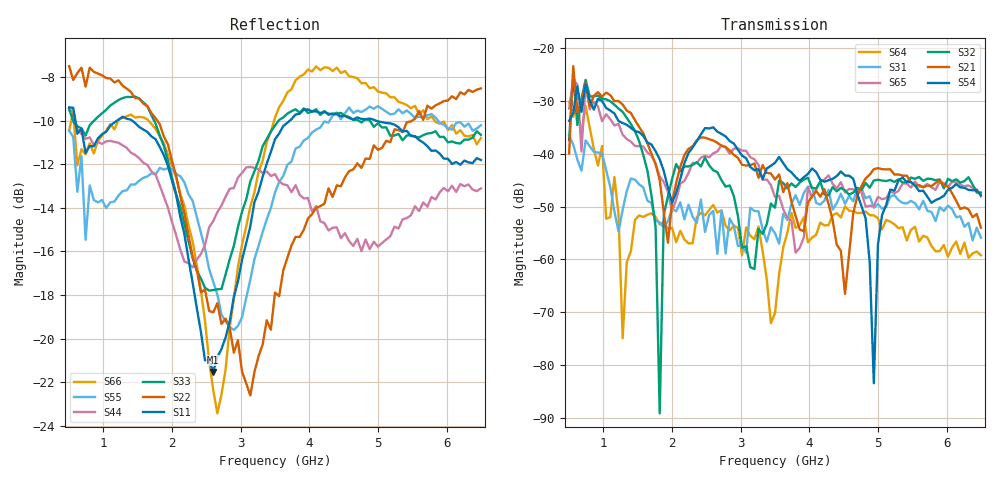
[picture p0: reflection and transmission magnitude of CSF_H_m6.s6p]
!Keysight Technologies,M9804A,MY58100912,A.14.10.03
!Date: Thursday, April 27, 2023 10:28:33
!Correction: S11(C  6-Port  )
!S12(C  6-Port  )
!S13(C  6-Port  )
!S14(C  6-Port  )
!S15(C  6-Port  )
!S16(C  6-Port  )
!S21(C  6-Port  )
!S22(C  6-Port  )
!S23(C  6-Port  )
!S24(C  6-Port  )
!S25(C  6-Port  )
!S26(C  6-Port  )
!S31(C  6-Port  )
!S32(C  6-Port  )
!S33(C  6-Port  )
!S34(C  6-Port  )
!S35(C  6-Port  )
!S36(C  6-Port  )
!S41(C  6-Port  )
!S42(C  6-Port  )
!S43(C  6-Port  )
!S44(C  6-Port  )
!S45(C  6-Port  )
!S46(C  6-Port  )
!S51(C  6-Port  )
!S52(C  6-Port  )
!S53(C  6-Port  )
!S54(C  6-Port  )
!S55(C  6-Port  )
!S56(C  6-Port  )
!S61(C  6-Port  )
!S62(C  6-Port  )
!S63(C  6-Port  )
!S64(C  6-Port  )
!S65(C  6-Port  )
!S66(C  6-Port  )
!S6P File: Measurement: :
# Hz S  RI  R 50
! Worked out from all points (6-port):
!   101 points, 500 MHz to 6.5 GHz, reference 50 ohm
!   strongest paths, dB at 500 MHz, 2 GHz, 3.5 GHz, 5 GHz, 6.5 GHz:
!     S54: -33.8, -49.3, -41.7, -57.2, -47.9
!     S21: -40.0, -49.3, -44.9, -42.7, -54.0
!     S32: -37.4, -44.8, -50.2, -44.9, -47.3
!     S65: -31.4, -50.9, -48.2, -48.2, -48.1
!     S31: -36.5, -50.5, -55.1, -49.5, -55.9
!     S64: -30.2, -54.0, -70.2, -52.2, -59.2
!   lowest |S11| = -21.5 dB at 2.6 GHz (marker M1), VSWR 1.18, Z = 42.6 + j2.17 ohm
!   |S11| at or under -10 dB: 589.9 MHz to 1.197 GHz (607.5 MHz wide, 68 % of centre); 1.419 GHz to 3.715 GHz (2.296 GHz wide, 89.4 % of centre); 4.974 GHz to end of sweep
